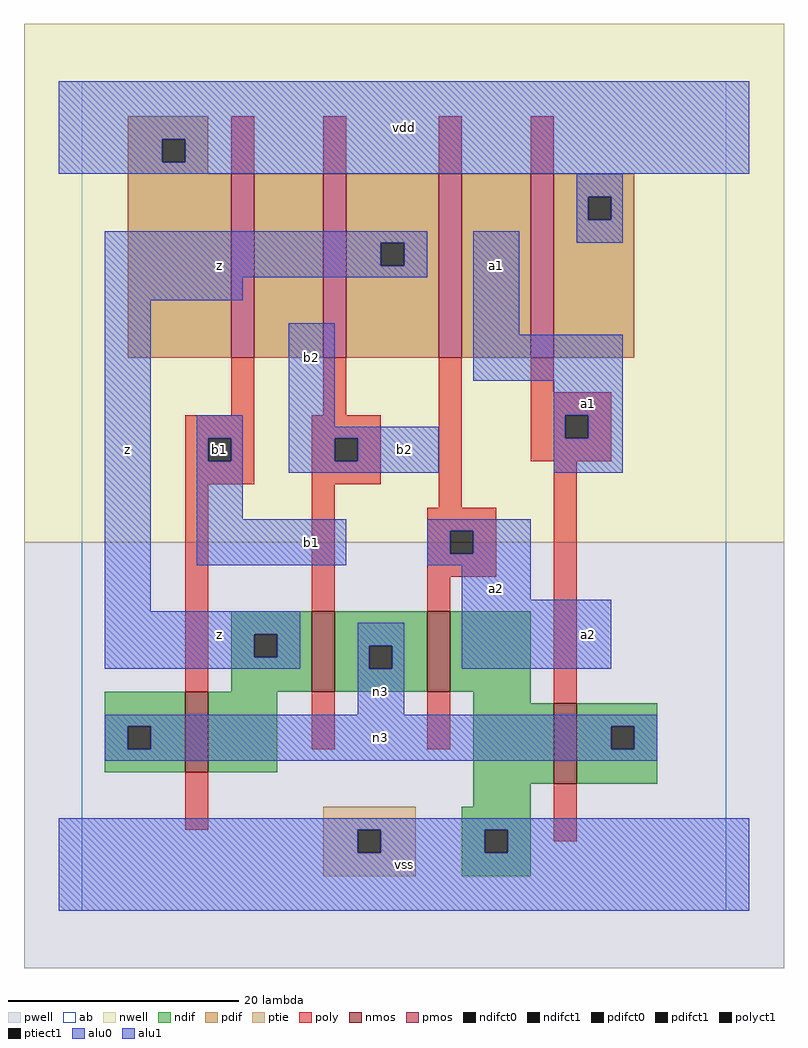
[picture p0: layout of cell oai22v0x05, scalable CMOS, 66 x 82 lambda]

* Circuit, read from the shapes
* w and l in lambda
.subckt oai22v0x05 a1 a2 b1 b2 n3 vdd vss z
M1 z b1 n3 vss nfet w=7 l=2
M2 n3 b2 z vss nfet w=7 l=2
M3 vss a2 n3 vss nfet w=7 l=2
M4 n3 a1 vss vss nfet w=7 l=2
M5 n1 b1 vdd n2 pfet w=16 l=2
M6 z b2 n1 n2 pfet w=16 l=2
M7 n4 a2 z n2 pfet w=16 l=2
M8 vdd a1 n4 n2 pfet w=16 l=2
.ends

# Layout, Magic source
magic
tech scmos
<< ab >>
rect 0 0 56 72
<< nwell >>
rect -5 32 61 77
<< pwell >>
rect -5 -5 61 32
<< poly >>
rect 13 64 15 69
rect 21 64 23 69
rect 31 64 33 69
rect 39 64 41 69
rect 13 43 15 48
rect 21 43 23 48
rect 9 41 15 43
rect 9 39 11 41
rect 13 39 15 41
rect 9 37 15 39
rect 20 41 26 43
rect 20 39 22 41
rect 24 39 26 41
rect 20 37 26 39
rect 9 19 11 37
rect 20 26 22 37
rect 31 35 33 48
rect 39 45 41 48
rect 39 43 46 45
rect 39 41 42 43
rect 44 41 46 43
rect 39 39 46 41
rect 30 33 36 35
rect 30 31 32 33
rect 34 31 36 33
rect 30 29 36 31
rect 30 26 32 29
rect 20 14 22 19
rect 30 14 32 19
rect 41 18 43 39
rect 9 7 11 12
rect 41 6 43 11
<< ndif >>
rect 13 24 20 26
rect 13 22 15 24
rect 17 22 20 24
rect 13 19 20 22
rect 22 23 30 26
rect 22 21 25 23
rect 27 21 30 23
rect 22 19 30 21
rect 32 19 39 26
rect 2 16 9 19
rect 2 14 4 16
rect 6 14 9 16
rect 2 12 9 14
rect 11 12 17 19
rect 34 18 39 19
rect 34 11 41 18
rect 43 16 50 18
rect 43 14 46 16
rect 48 14 50 16
rect 43 11 50 14
rect 34 9 39 11
rect 33 7 39 9
rect 33 5 35 7
rect 37 5 39 7
rect 33 3 39 5
<< pdif >>
rect 4 67 11 69
rect 4 65 7 67
rect 9 65 11 67
rect 4 64 11 65
rect 4 48 13 64
rect 15 48 21 64
rect 23 58 31 64
rect 23 56 26 58
rect 28 56 31 58
rect 23 48 31 56
rect 33 48 39 64
rect 41 62 48 64
rect 41 60 44 62
rect 46 60 48 62
rect 41 48 48 60
<< alu1 >>
rect -2 67 58 72
rect -2 65 7 67
rect 9 65 58 67
rect -2 64 58 65
rect 2 58 30 59
rect 2 56 26 58
rect 28 56 30 58
rect 2 55 30 56
rect 2 53 14 55
rect 2 26 6 53
rect 10 41 14 43
rect 10 39 11 41
rect 13 39 14 41
rect 10 34 14 39
rect 18 42 22 51
rect 34 50 38 59
rect 34 46 47 50
rect 41 43 47 46
rect 18 41 31 42
rect 18 39 22 41
rect 24 39 31 41
rect 18 38 31 39
rect 41 41 42 43
rect 44 41 47 43
rect 41 38 47 41
rect 10 30 23 34
rect 30 33 39 34
rect 30 31 32 33
rect 34 31 39 33
rect 30 30 39 31
rect 33 27 39 30
rect 2 24 19 26
rect 2 22 15 24
rect 17 22 19 24
rect 2 21 19 22
rect 33 21 46 27
rect -2 7 58 8
rect -2 5 24 7
rect 26 5 35 7
rect 37 5 58 7
rect -2 0 58 5
<< ptie >>
rect 21 7 29 9
rect 21 5 24 7
rect 26 5 29 7
rect 21 3 29 5
<< nmos >>
rect 20 19 22 26
rect 30 19 32 26
rect 9 12 11 19
rect 41 11 43 18
<< pmos >>
rect 13 48 15 64
rect 21 48 23 64
rect 31 48 33 64
rect 39 48 41 64
<< polyct1 >>
rect 11 39 13 41
rect 22 39 24 41
rect 42 41 44 43
rect 32 31 34 33
<< ndifct0 >>
rect 25 21 27 23
rect 4 14 6 16
rect 46 14 48 16
<< ndifct1 >>
rect 15 22 17 24
rect 35 5 37 7
<< ptiect1 >>
rect 24 5 26 7
<< pdifct0 >>
rect 44 60 46 62
<< pdifct1 >>
rect 7 65 9 67
rect 26 56 28 58
<< alu0 >>
rect 43 62 47 64
rect 43 60 44 62
rect 46 60 47 62
rect 43 58 47 60
rect 24 23 28 25
rect 24 21 25 23
rect 27 21 28 23
rect 24 17 28 21
rect 2 16 50 17
rect 2 14 4 16
rect 6 14 46 16
rect 48 14 50 16
rect 2 13 50 14
<< labels >>
rlabel alu0 26 19 26 19 6 n3
rlabel alu0 26 15 26 15 6 n3
rlabel alu1 4 40 4 40 6 z
rlabel alu1 12 24 12 24 6 z
rlabel alu1 20 32 20 32 6 b1
rlabel polyct1 12 40 12 40 6 b1
rlabel alu1 20 48 20 48 6 b2
rlabel alu1 12 56 12 56 6 z
rlabel alu1 28 4 28 4 6 vss
rlabel alu1 36 28 36 28 6 a2
rlabel alu1 28 40 28 40 6 b2
rlabel alu1 36 56 36 56 6 a1
rlabel alu1 28 68 28 68 6 vdd
rlabel alu1 44 24 44 24 6 a2
rlabel alu1 44 44 44 44 6 a1
<< end >>
